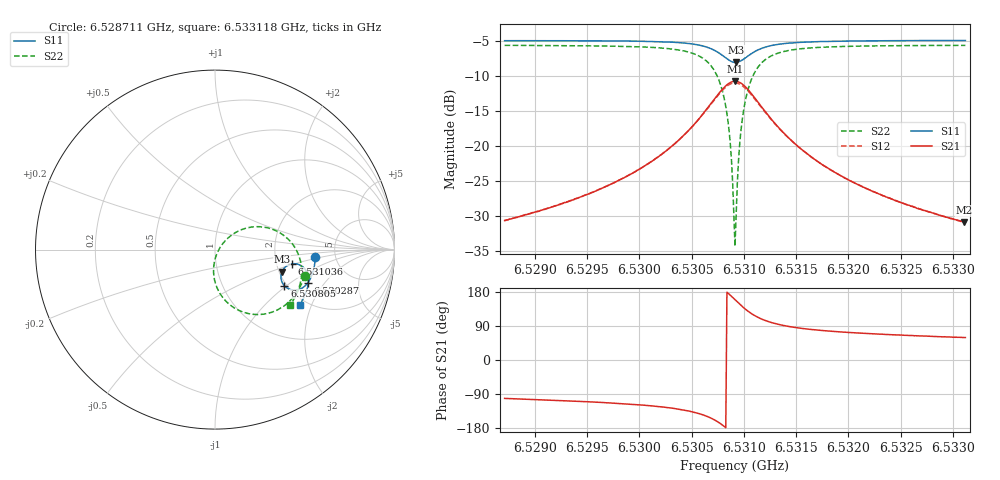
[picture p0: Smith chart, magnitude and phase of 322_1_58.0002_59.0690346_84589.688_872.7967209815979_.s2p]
#  HZ  S  RI  R  50.00
! Rohde & Schwarz Vector Network Analyzer
! Rohde-Schwarz,ZNB20-2Port,1311601062101988,3.16
! Created: UTC 3/21/2024, 1:04:44 AM
! freq[Hz]  re:S11  im:S11  re:S21  im:S21  re:S12  im:S12  re:S22  im:S22
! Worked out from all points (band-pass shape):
!   401 points, 6.528711 GHz to 6.533118 GHz, reference 50 ohm
!   highest |S21| = -10.80 dB at 6.530915 GHz (marker M1); lowest = -30.9 dB at 6.533107 GHz (marker M2)
!   |S21| within 3 dB of the highest: 6.530695 GHz to 6.531135 GHz (440.7 kHz wide, 0.00675 % of centre)
!   lowest |S11| = -8.1 dB at 6.530926 GHz (marker M3), VSWR 2.29, Z = 103 - j30.3 ohm
!   |S11| at or under -10 dB: nowhere
!   |S22| runs from -34.3 to -5.7 dB; largest |S21 - S12| = 0.011
!   S11 on the Smith chart (normalised r, x): 6.528711 GHz: 3.50, -0.43; 6.530287 GHz: 2.61, -1.39; 6.530805 GHz: 1.94, -0.96; 6.531036 GHz: 2.43, -0.48; 6.533118 GHz: 1.83, -1.65
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6.5287112e9  0.5599 -0.0421  -0.00574 -0.0287  -0.00643 -0.0286  0.4992 -0.146
6.5294494e9  0.5513 -0.1026  -0.0145 -0.041  -0.0154 -0.0406  0.471 -0.2134
6.5301875e9  0.5246 -0.174  -0.0459 -0.0706  -0.0476 -0.0695  0.3947 -0.3062
6.5302867e9  0.5169 -0.1856  -0.0566 -0.0775  -0.0588 -0.076  0.3716 -0.3225
6.5306393e9  0.4543 -0.2253  -0.1528 -0.0959  -0.155 -0.0899  0.1888 -0.3571
6.5307384e9  0.4153 -0.2208  -0.2132 -0.0725  -0.2129 -0.064  0.0857 -0.3095
6.5308045e9  0.3864 -0.2011  -0.2562 -0.0284  -0.2523 -0.019  0.0187 -0.2282
6.5308596e9  0.3697 -0.1701  -0.278 0.0317  -0.2702 0.0395  -0.00816 -0.1245
6.5308706e9  0.368 -0.1626  -0.2792 0.0458  -0.2707 0.0528  -0.00754 -0.1011
6.5308927e9  0.3674 -0.1468  -0.2772 0.0745  -0.268 0.08  -0.000117 -0.054
6.5309037e9  0.3683 -0.1391  -0.2741 0.0888  -0.2645 0.0935  0.00737 -0.0311
6.5309147e9  0.3702 -0.1312  -0.2695 0.103  -0.2598 0.1067  0.0172 -0.0087
6.5309257e9  0.3727 -0.1237  -0.2638 0.1165  -0.254 0.1193  0.0289 0.0127
6.5309698e9  0.3907 -0.0981  -0.2286 0.162  -0.2198 0.1616  0.0937 0.0818
6.5310028e9  0.4088 -0.0858  -0.195 0.1841  -0.1878 0.1821  0.1525 0.1129
6.5310359e9  0.428 -0.0795  -0.1608 0.1956  -0.155 0.193  0.2114 0.1265
6.531113e9  0.4665 -0.0829  -0.0931 0.1938  -0.09 0.1912  0.3256 0.111
6.5312232e9  0.4989 -0.1055  -0.0359 0.164  -0.0344 0.1627  0.4184 0.0471
6.5316529e9  0.5207 -0.1813  0.0138 0.0812  0.0148 0.0809  0.4828 -0.1293
6.532391e9  0.5007 -0.2539  0.0166 0.039  0.0173 0.0388  0.4553 -0.2446
6.5331071e9  0.4732 -0.3064  0.0145 0.0244  0.0151 0.0243  0.4208 -0.3056
6.5331182e9  0.4727 -0.3071  0.0146 0.0245  0.015 0.0241  0.4201 -0.3065
